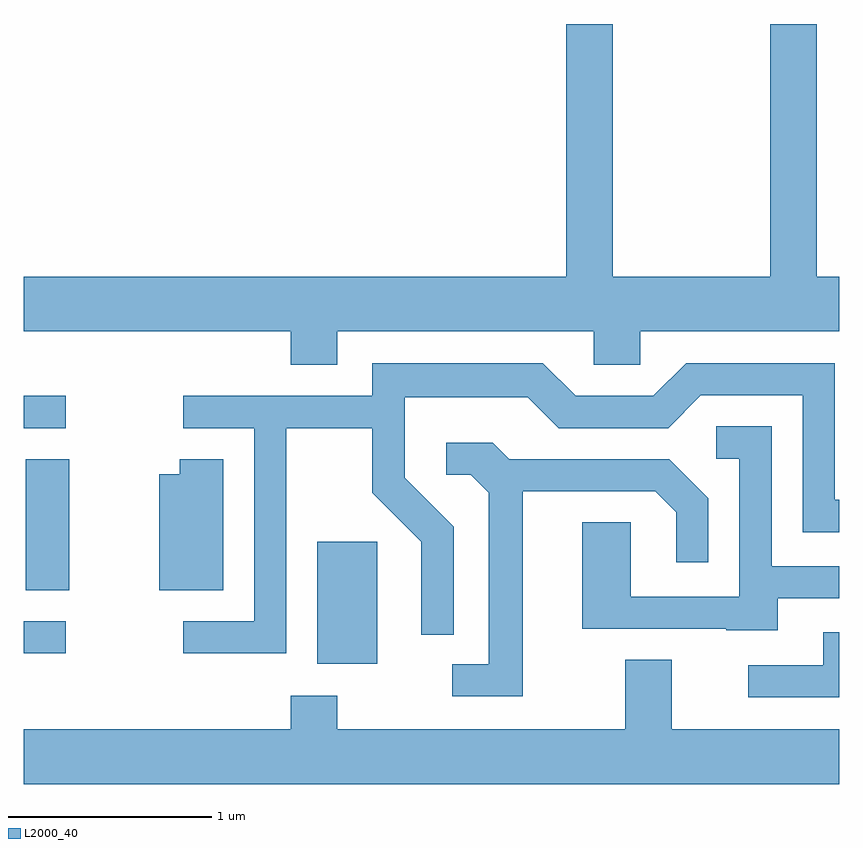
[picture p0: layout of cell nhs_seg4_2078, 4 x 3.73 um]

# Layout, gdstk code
import gdstk
lib = gdstk.Library(unit=1e-6, precision=1e-09)
def R(c, l, rs):  # rectangles x0, y0, x1, y1
    for r in rs: c.add(gdstk.rectangle(r[:2], r[2:], *l))
def P(c, l, *ps):  # polygons
    for p in ps: c.add(gdstk.Polygon(p, *l))
L2000_40 = (2000, 40)

nhs_seg4_2078 = lib.new_cell('nhs_seg4_2078')
R(nhs_seg4_2078, L2000_40, [(247.051,1330.846,247.344,1331.444), (245.611,1330.896,245.818,1331.054), (245.621,1331.206,245.834,1331.849), (245.611,1332.001,245.818,1332.159)])
P(nhs_seg4_2078, L2000_40, [(247.149,1332.476),(248.406,1332.476),(248.406,1332.311),(248.634,1332.311),(248.634,1332.476),(249.611,1332.476),(249.611,1332.744),(249.499,1332.744),(249.499,1333.982),(249.271,1333.982),(249.271,1332.744),(248.499,1332.744),(248.499,1333.982),(248.271,1333.982),(248.271,1332.744),(245.611,1332.744),(245.611,1332.476),(246.921,1332.476),(246.921,1332.311),(247.149,1332.311)],
  [(246.899,1332.001),(247.321,1332.001),(247.321,1331.684),(247.561,1331.444),(247.561,1330.988),(247.719,1330.988),(247.719,1331.517),(247.479,1331.757),(247.479,1332.151),(248.084,1332.151),(248.234,1332.001),(248.772,1332.001),(248.932,1332.161),(249.431,1332.161),(249.431,1331.491),(249.611,1331.491),(249.611,1331.649),(249.589,1331.649),(249.589,1332.319),(248.859,1332.319),(248.699,1332.159),(248.317,1332.159),(248.157,1332.319),(247.321,1332.319),(247.321,1332.159),(246.393,1332.159),(246.393,1332.001),(246.741,1332.001),(246.741,1331.054),(246.393,1331.054),(246.393,1330.896),(246.899,1330.896)],
  [(249.309,1331.166),(249.611,1331.166),(249.611,1331.324),(249.279,1331.324),(249.279,1332.009),(249.008,1332.009),(249.008,1331.851),(249.121,1331.851),(249.121,1331.174),(248.589,1331.174),(248.589,1331.539),(248.351,1331.539),(248.351,1331.016),(249.055,1331.016),(249.055,1331.011),(249.309,1331.011)],
  [(248.059,1331.691),(248.709,1331.691),(248.811,1331.589),(248.811,1331.343),(248.969,1331.343),(248.969,1331.657),(248.777,1331.849),(247.992,1331.849),(247.912,1331.929),(247.683,1331.929),(247.683,1331.771),(247.804,1331.771),(247.891,1331.684),(247.891,1330.844),(247.713,1330.844),(247.713,1330.686),(248.059,1330.686)],
  [(246.589,1331.849),(246.376,1331.849),(246.376,1331.774),(246.276,1331.774),(246.276,1331.206),(246.589,1331.206)],
  [(249.611,1330.999),(249.531,1330.999),(249.531,1330.839),(249.163,1330.839),(249.163,1330.681),(249.611,1330.681)],
  [(249.611,1330.524),(248.789,1330.524),(248.789,1330.864),(248.561,1330.864),(248.561,1330.524),(247.149,1330.524),(247.149,1330.689),(246.921,1330.689),(246.921,1330.524),(245.611,1330.524),(245.611,1330.256),(249.611,1330.256)])

lib.write_gds('nhs_seg4_2078.gds')
